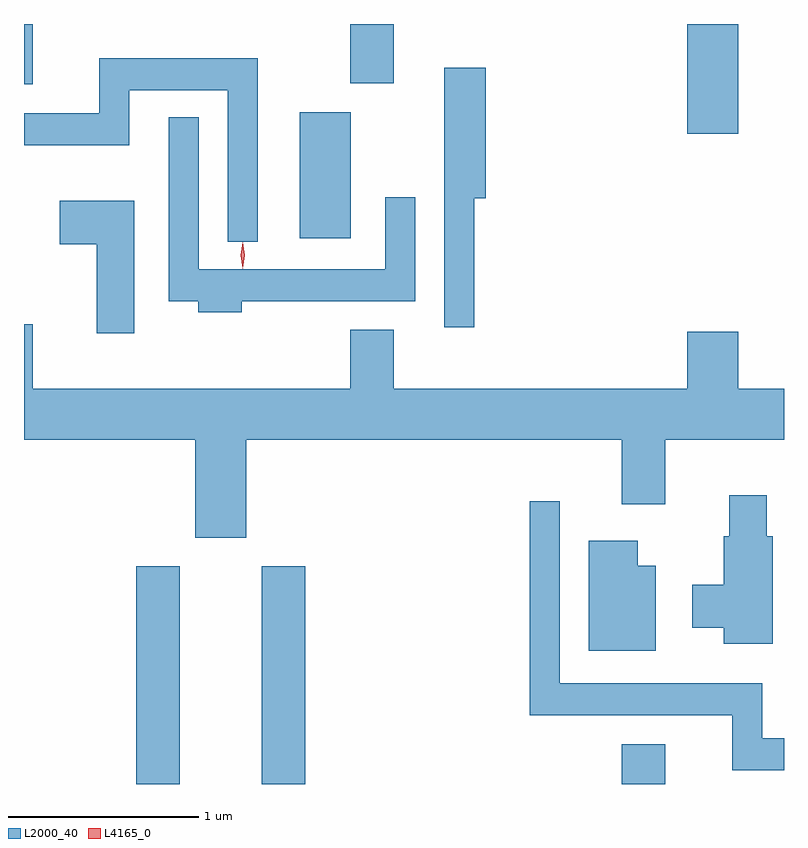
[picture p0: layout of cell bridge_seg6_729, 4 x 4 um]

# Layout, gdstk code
import gdstk
lib = gdstk.Library(unit=1e-6, precision=1e-09)
def R(c, l, rs):  # rectangles x0, y0, x1, y1
    for r in rs: c.add(gdstk.rectangle(r[:2], r[2:], *l))
def P(c, l, *ps):  # polygons
    for p in ps: c.add(gdstk.Polygon(p, *l))
L2000_40 = (2000, 40)
L4165_0 = (4165, 0)

bridge_seg6_729 = lib.new_cell('bridge_seg6_729')
R(bridge_seg6_729, L2000_40, [(451.936,1577.084,452.164,1578.229), (452.596,1577.084,452.824,1578.229), (454.491,1577.084,454.719,1577.294), (452.796,1579.956,453.064,1580.619), (454.836,1580.506,455.104,1581.084), (451.344,1580.766,451.389,1581.084), (453.061,1580.771,453.289,1581.084)])
P(bridge_seg6_729, L2000_40, [(452.574,1580.904),(451.741,1580.904),(451.741,1580.614),(451.344,1580.614),(451.344,1580.446),(451.899,1580.446),(451.899,1580.736),(452.416,1580.736),(452.416,1579.938),(452.574,1579.938)],
  [(453.714,1580.166),(453.774,1580.166),(453.774,1580.854),(453.556,1580.854),(453.556,1579.488),(453.714,1579.488)],
  [(452.489,1579.626),(453.404,1579.626),(453.404,1580.173),(453.246,1580.173),(453.246,1579.794),(452.264,1579.794),(452.264,1580.593),(452.106,1580.593),(452.106,1579.626),(452.261,1579.626),(452.261,1579.566),(452.489,1579.566)],
  [(451.924,1580.154),(451.531,1580.154),(451.531,1579.926),(451.726,1579.926),(451.726,1579.456),(451.924,1579.456)],
  [(451.389,1579.504),(451.344,1579.504),(451.344,1578.896),(452.246,1578.896),(452.246,1578.381),(452.514,1578.381),(452.514,1578.896),(454.491,1578.896),(454.491,1578.556),(454.719,1578.556),(454.719,1578.896),(455.344,1578.896),(455.344,1579.164),(455.104,1579.164),(455.104,1579.464),(454.836,1579.464),(454.836,1579.164),(453.289,1579.164),(453.289,1579.474),(453.061,1579.474),(453.061,1579.164),(451.389,1579.164)],
  [(455.284,1578.389),(455.254,1578.389),(455.254,1578.604),(455.056,1578.604),(455.056,1578.389),(455.026,1578.389),(455.026,1578.134),(454.861,1578.134),(454.861,1577.906),(455.026,1577.906),(455.026,1577.821),(455.284,1577.821)],
  [(455.344,1577.324),(455.229,1577.324),(455.229,1577.614),(454.164,1577.614),(454.164,1578.573),(454.006,1578.573),(454.006,1577.446),(455.071,1577.446),(455.071,1577.156),(455.344,1577.156)],
  [(454.669,1578.234),(454.574,1578.234),(454.574,1578.364),(454.316,1578.364),(454.316,1577.786),(454.669,1577.786)])
P(bridge_seg6_729, L4165_0, [(452.496,1579.797),(452.495,1579.798),(452.486,1579.867),(452.495,1579.936),(452.496,1579.936),(452.496,1579.936),(452.506,1579.867),(452.496,1579.798)],
  [(452.494,1579.8),(452.485,1579.866),(452.494,1579.932),(452.494,1579.933),(452.495,1579.932),(452.504,1579.866),(452.495,1579.8),(452.495,1579.8)])

lib.write_gds('bridge_seg6_729.gds')
